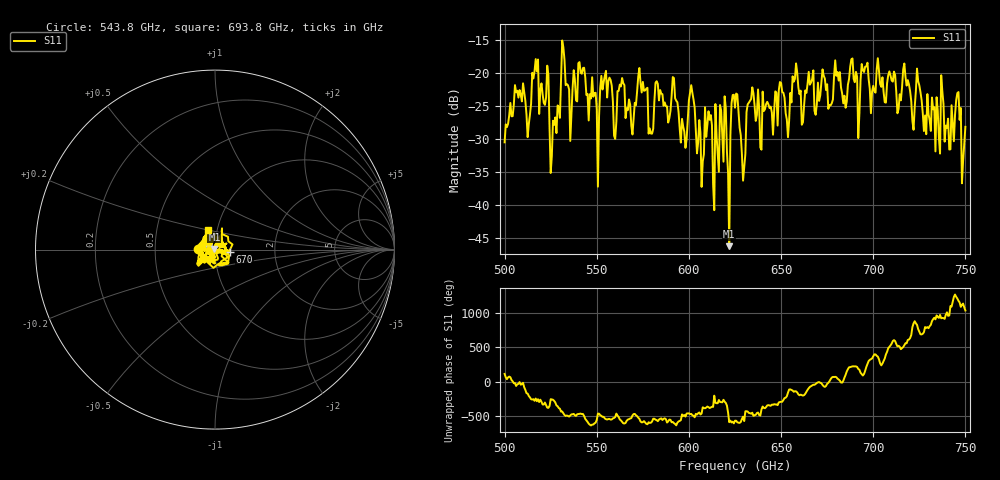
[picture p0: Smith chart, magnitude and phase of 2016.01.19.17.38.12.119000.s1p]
!Created with skrf (http://scikit-rf.org).
# GHz S RI R 50.0
!freq ReS11 ImS11
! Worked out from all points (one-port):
!   401 points, 500 GHz to 750 GHz, reference 50 ohm
!   lowest |S11| = -46.2 dB at 621.9 GHz (marker M1), VSWR 1.01, Z = 49.7 + j0.377 ohm
!   |S11| at or under -10 dB: start of sweep to end of sweep
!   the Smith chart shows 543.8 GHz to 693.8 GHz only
!   S11 on the Smith chart (normalised r, x): 543.8 GHz: 0.83, +0.01; 670 GHz: 1.18, -0.03; 693.8 GHz: 0.90, +0.20
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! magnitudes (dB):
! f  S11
! 500 GHz  -30.5
! 506.9 GHz  -22.7
! 513.1 GHz  -27.7
! 516.9 GHz  -17.9
! 525.6 GHz  -32.6
! 531.2 GHz  -15.1
! 543.8 GHz  -20.6
! 550 GHz  -25.5
! 562.5 GHz  -21.7
! 570 GHz  -26.9
! 573.8 GHz  -21.5
! 579.4 GHz  -29.2
! 583.1 GHz  -21.7
! 593.8 GHz  -24.4
! 598.1 GHz  -31.3
! 601.2 GHz  -21.8
! 614.4 GHz  -24.7
! 618.8 GHz  -33.4
! 621.9 GHz  -46.2
! 625 GHz  -25.2
! 629.4 GHz  -36.3
! 633.8 GHz  -23.9
! 656.2 GHz  -20.5
! 670 GHz  -21.5
! 687.5 GHz  -19.1
! 693.8 GHz  -18.6
! 718.8 GHz  -21.1
! 750 GHz  -28.2
